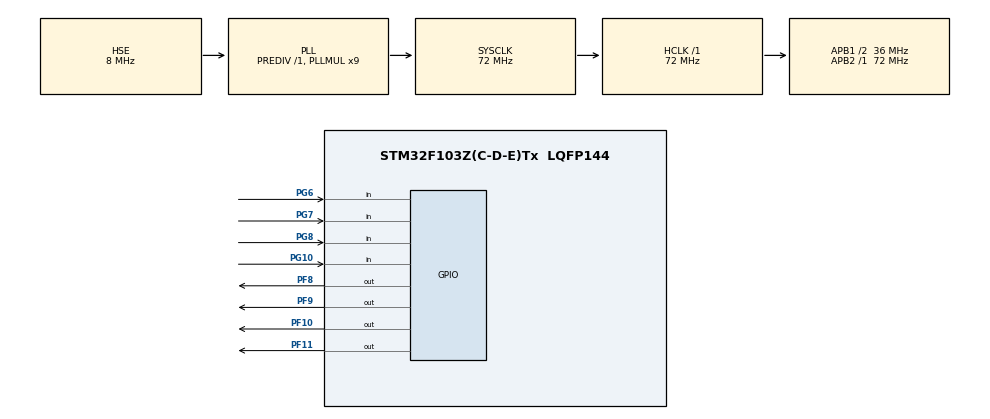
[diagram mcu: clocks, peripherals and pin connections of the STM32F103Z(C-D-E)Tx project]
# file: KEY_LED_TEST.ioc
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Mcu.Family=STM32F1
Mcu.Name=STM32F103Z(C-D-E)Tx
Mcu.Package=LQFP144
NVIC.PriorityGroup=NVIC_PRIORITYGROUP_4
OSC_IN.Mode=HSE-External-Oscillator
OSC_IN.Signal=RCC_OSC_IN
OSC_OUT.Mode=HSE-External-Oscillator
OSC_OUT.Signal=RCC_OSC_OUT
PA13.Mode=Serial_Wire
PA13.Signal=SYS_JTMS-SWDIO
PA14.Mode=Serial_Wire
PA14.Signal=SYS_JTCK-SWCLK
PF10.GPIO_ModeDefaultOutputPP=GPIO_MODE_OUTPUT_OD
PF10.GPIO_PuPd=GPIO_NOPULL
PF10.PinState=GPIO_PIN_SET
PF10.Signal=GPIO_Output
PF11.GPIO_ModeDefaultOutputPP=GPIO_MODE_OUTPUT_OD
PF11.GPIO_PuPd=GPIO_NOPULL
PF11.PinState=GPIO_PIN_SET
PF11.Signal=GPIO_Output
PF8.GPIO_ModeDefaultOutputPP=GPIO_MODE_OUTPUT_OD
PF8.GPIO_PuPd=GPIO_NOPULL
PF8.PinState=GPIO_PIN_SET
PF8.Signal=GPIO_Output
PF9.GPIO_ModeDefaultOutputPP=GPIO_MODE_OUTPUT_OD
PF9.GPIO_PuPd=GPIO_NOPULL
PF9.PinState=GPIO_PIN_SET
PF9.Signal=GPIO_Output
PG10.Signal=GPIO_Input
PG6.Signal=GPIO_Input
PG7.Signal=GPIO_Input
PG8.Signal=GPIO_Input
ProjectManager.HeapSize=0x200
ProjectManager.StackSize=0x400
ProjectManager.TargetToolchain=MDK-ARM V5.32
RCC.AHBFreq_Value=72000000
RCC.APB1CLKDivider=RCC_HCLK_DIV2
RCC.APB1Freq_Value=36000000
RCC.APB1TimFreq_Value=72000000
RCC.APB2Freq_Value=72000000
RCC.APB2TimFreq_Value=72000000
RCC.HCLKFreq_Value=72000000
RCC.PLLMUL=RCC_PLL_MUL9
RCC.PLLSourceVirtual=RCC_PLLSOURCE_HSE
RCC.SYSCLKFreq_VALUE=72000000
RCC.SYSCLKSource=RCC_SYSCLKSOURCE_PLLCLK
RCC.USBFreq_Value=72000000
board=custom

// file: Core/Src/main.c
/* USER CODE BEGIN Header */
/**
 ******************************************************************************
 * @file           : main.c
 * @brief          : Main program body
 ******************************************************************************
 * @attention
 *
 * Copyright (c) 2026 STMicroelectronics.
 * All rights reserved.
 *
 * This software is licensed under terms that can be found in the LICENSE file
 * in the root directory of this software component.
 * If no LICENSE file comes with this software, it is provided AS-IS.
 *
 ******************************************************************************
 */
/* USER CODE END Header */
#include "main.h"

/* USER CODE BEGIN Includes */
#include "stdbool.h"
/* USER CODE END Includes */

/* USER CODE BEGIN PTD */

typedef enum
{
  LED1 = 1,
  LED2,
  LED3,
  LED4
} LED_t;

typedef enum
{
  KEY1 = 1,
  KEY2,
  KEY3,
  KEY4
} KEY_t;
/* USER CODE END PTD */

/* USER CODE BEGIN PD */
// bool led_state = false;
// const uint32_t KEY_DEBOUNCE_MS = 20;
/* USER CODE END PD */

void SystemClock_Config(void);
static void MX_GPIO_Init(void);
/* USER CODE BEGIN PFP */
void BSP_LED_Control(LED_t led, bool flag);
void BSP_led_on(LED_t led);
void BSP_led_off(LED_t led);
bool BSP_KEY_IsPressd(KEY_t key);

/* USER CODE END PFP */

int main(void)
{

  /* MCU Configuration--------------------------------------------------------*/

  /* Reset of all peripherals, Initializes the Flash interface and the Systick. */
  HAL_Init();

  /* Configure the system clock */
  SystemClock_Config();

  /* Initialize all configured peripherals */
  MX_GPIO_Init();
  /* USER CODE BEGIN 2 */
  // BSP_led_on(LED1);
  // HAL_Delay(1000);
  // BSP_led_on(LED2);
  // HAL_Delay(1000);
  // BSP_led_on(LED3);
  // HAL_Delay(1000);
  // BSP_led_on(LED4);
  // HAL_Delay(1000);
  /* USER CODE END 2 */

  /* Infinite loop */
  /* USER CODE BEGIN WHILE */
  while (1)
  {
    BSP_KEY_IsPressd(KEY1) ? BSP_led_on(LED1) : BSP_led_off(LED1);
    BSP_KEY_IsPressd(KEY2) ? BSP_led_on(LED2) : BSP_led_off(LED2);
    BSP_KEY_IsPressd(KEY3) ? BSP_led_on(LED3) : BSP_led_off(LED3);
    BSP_KEY_IsPressd(KEY4) ? BSP_led_on(LED4) : BSP_led_off(LED4);

    // if(HAL_GPIO_ReadPin(GPIOG,GPIO_PIN_10) == GPIO_PIN_RESET){
    //   HAL_Delay(KEY_DEBOUNCE_MS);
    //   if(HAL_GPIO_ReadPin(GPIOG,GPIO_PIN_10) == GPIO_PIN_RESET){
    //     led_state = !led_state;
    //     HAL_GPIO_WritePin(GPIOF,GPIO_PIN_8,(led_state == true? GPIO_PIN_RESET:GPIO_PIN_SET));
    //   }
    //   while(HAL_GPIO_ReadPin(GPIOG,GPIO_PIN_10) == GPIO_PIN_RESET);
    // }
    // if(HAL_GPIO_ReadPin(GPIOG,GPIO_PIN_10) == GPIO_PIN_RESET){
    //   led_state = !led_state;
    //   HAL_GPIO_WritePin(GPIOF,GPIO_PIN_8,(led_state == true? GPIO_PIN_RESET:GPIO_PIN_SET));
    //   // if(led_state == false){
    //   //   HAL_GPIO_WritePin(GPIOF,GPIO_PIN_8,GPIO_PIN_RESET);
    //   // }else{
    //   //   HAL_GPIO_WritePin(GPIOF,GPIO_PIN_8,GPIO_PIN_SET);
    //   // }
    // }

    // if(HAL_GPIO_ReadPin(GPIOG,GPIO_PIN_10)==GPIO_PIN_RESET)
    // {
    //   HAL_GPIO_WritePin(GPIOF,GPIO_PIN_8,GPIO_PIN_RESET);
    // }else{
    //   HAL_GPIO_WritePin(GPIOF,GPIO_PIN_8,GPIO_PIN_SET);
    // }
    /* USER CODE END WHILE */

  }
}

void SystemClock_Config(void)
{
  RCC_OscInitTypeDef RCC_OscInitStruct = {0};
  RCC_ClkInitTypeDef RCC_ClkInitStruct = {0};

  /** Initializes the RCC Oscillators according to the specified parameters
   * in the RCC_OscInitTypeDef structure.
   */
  RCC_OscInitStruct.OscillatorType = RCC_OSCILLATORTYPE_HSE;
  RCC_OscInitStruct.HSEState = RCC_HSE_ON;
  RCC_OscInitStruct.HSEPredivValue = RCC_HSE_PREDIV_DIV1;
  RCC_OscInitStruct.HSIState = RCC_HSI_ON;
  RCC_OscInitStruct.PLL.PLLState = RCC_PLL_ON;
  RCC_OscInitStruct.PLL.PLLSource = RCC_PLLSOURCE_HSE;
  RCC_OscInitStruct.PLL.PLLMUL = RCC_PLL_MUL9;
  if (HAL_RCC_OscConfig(&RCC_OscInitStruct) != HAL_OK)
  {
    Error_Handler();
  }

  /** Initializes the CPU, AHB and APB buses clocks
   */
  RCC_ClkInitStruct.ClockType = RCC_CLOCKTYPE_HCLK | RCC_CLOCKTYPE_SYSCLK | RCC_CLOCKTYPE_PCLK1 | RCC_CLOCKTYPE_PCLK2;
  RCC_ClkInitStruct.SYSCLKSource = RCC_SYSCLKSOURCE_PLLCLK;
  RCC_ClkInitStruct.AHBCLKDivider = RCC_SYSCLK_DIV1;
  RCC_ClkInitStruct.APB1CLKDivider = RCC_HCLK_DIV2;
  RCC_ClkInitStruct.APB2CLKDivider = RCC_HCLK_DIV1;

  if (HAL_RCC_ClockConfig(&RCC_ClkInitStruct, FLASH_LATENCY_2) != HAL_OK)
  {
    Error_Handler();
  }
}

static void MX_GPIO_Init(void)
{
  GPIO_InitTypeDef GPIO_InitStruct = {0};

  /* GPIO Ports Clock Enable */
  __HAL_RCC_GPIOF_CLK_ENABLE();
  __HAL_RCC_GPIOG_CLK_ENABLE();
  __HAL_RCC_GPIOA_CLK_ENABLE();

  /*Configure GPIO pin Output Level */
  HAL_GPIO_WritePin(GPIOF, GPIO_PIN_8 | GPIO_PIN_9 | GPIO_PIN_10 | GPIO_PIN_11, GPIO_PIN_SET);

  /*Configure GPIO pins : PF8 PF9 PF10 PF11 */
  GPIO_InitStruct.Pin = GPIO_PIN_8 | GPIO_PIN_9 | GPIO_PIN_10 | GPIO_PIN_11;
  GPIO_InitStruct.Mode = GPIO_MODE_OUTPUT_OD;
  GPIO_InitStruct.Pull = GPIO_NOPULL;
  GPIO_InitStruct.Speed = GPIO_SPEED_FREQ_LOW;
  HAL_GPIO_Init(GPIOF, &GPIO_InitStruct);

  /*Configure GPIO pins : PG6 PG7 PG8 PG10 */
  GPIO_InitStruct.Pin = GPIO_PIN_6 | GPIO_PIN_7 | GPIO_PIN_8 | GPIO_PIN_10;
  GPIO_InitStruct.Mode = GPIO_MODE_INPUT;
  GPIO_InitStruct.Pull = GPIO_NOPULL;
  HAL_GPIO_Init(GPIOG, &GPIO_InitStruct);

}

/* USER CODE BEGIN 4 */

// 关于按键的函数

bool BSP_KEY_IsPressd(KEY_t key)
{
  bool ret = false;
  switch (key)
  {
  case KEY1:
  {
    if (HAL_GPIO_ReadPin(GPIOG, GPIO_PIN_10) == GPIO_PIN_RESET)
    {
      HAL_Delay(20);
      if(HAL_GPIO_ReadPin(GPIOG, GPIO_PIN_10) == GPIO_PIN_RESET)
      ret = true;
    }
    break;
  }
  case KEY2:
  {
    if (HAL_GPIO_ReadPin(GPIOG, GPIO_PIN_6) == GPIO_PIN_RESET)
    {
      HAL_Delay(20);
      if(HAL_GPIO_ReadPin(GPIOG, GPIO_PIN_6) == GPIO_PIN_RESET)
      ret = true;
    }
    break;
  }
  case KEY3:
  {
    if (HAL_GPIO_ReadPin(GPIOG, GPIO_PIN_8) == GPIO_PIN_RESET)
    {
      HAL_Delay(20);
      if(HAL_GPIO_ReadPin(GPIOG, GPIO_PIN_8) == GPIO_PIN_RESET)
      ret = true;
    }
    break;
  }
  case KEY4:
  {
    if (HAL_GPIO_ReadPin(GPIOG, GPIO_PIN_7) == GPIO_PIN_RESET)
    {
      HAL_Delay(20);
      if(HAL_GPIO_ReadPin(GPIOG, GPIO_PIN_7) == GPIO_PIN_RESET)
      ret = true;
    }
    break;
  }
  default:
    break;
  }
  return ret;
}

// bool BSP_KEY_IsPressd(KEY_t key)
// {
//   bool ret = false;
//   switch (key)
//   {
//   case KEY1:
//     if (HAL_GPIO_ReadPin(GPIOG, GPIO_PIN_10) == GPIO_PIN_RESET)
//     {
//       ret = true;
//     }
//     break;

//   case KEY2:
//     if (HAL_GPIO_ReadPin(GPIOG, GPIO_PIN_6) == GPIO_PIN_RESET)
//     {
//       ret = true;
//     }
//     break;

//   case KEY3:
//     if (HAL_GPIO_ReadPin(GPIOG, GPIO_PIN_8) == GPIO_PIN_RESET)
//     {
//       ret = true;
//     }
//     break;

//   case KEY4:
//     if (HAL_GPIO_ReadPin(GPIOG, GPIO_PIN_7) == GPIO_PIN_RESET)
//     {
//       ret = true;
//     }
//     break;
//   default:
//     break;
//   }
//   return ret;
// }

// 关于灯的函数
void BSP_LED_Control(LED_t led, bool flag)
{
  GPIO_PinState state = flag ? GPIO_PIN_RESET : GPIO_PIN_SET;
  switch (led)
  {
  case LED1:
    HAL_GPIO_WritePin(GPIOF, GPIO_PIN_8, state);
    break;
  case LED2:
    HAL_GPIO_WritePin(GPIOF, GPIO_PIN_9, state);
    break;
  case LED3:
    HAL_GPIO_WritePin(GPIOF, GPIO_PIN_10, state);
    break;
  case LED4:
    HAL_GPIO_WritePin(GPIOF, GPIO_PIN_11, state);
    break;
  default:
    break;
  }
}

void BSP_led_on(LED_t led)
{
  BSP_LED_Control(led, true);
}

void BSP_led_off(LED_t led)
{
  BSP_LED_Control(led, false);
}

/* USER CODE END 4 */

void Error_Handler(void)
{
  __disable_irq();
  while (1)
  {
  }
}
